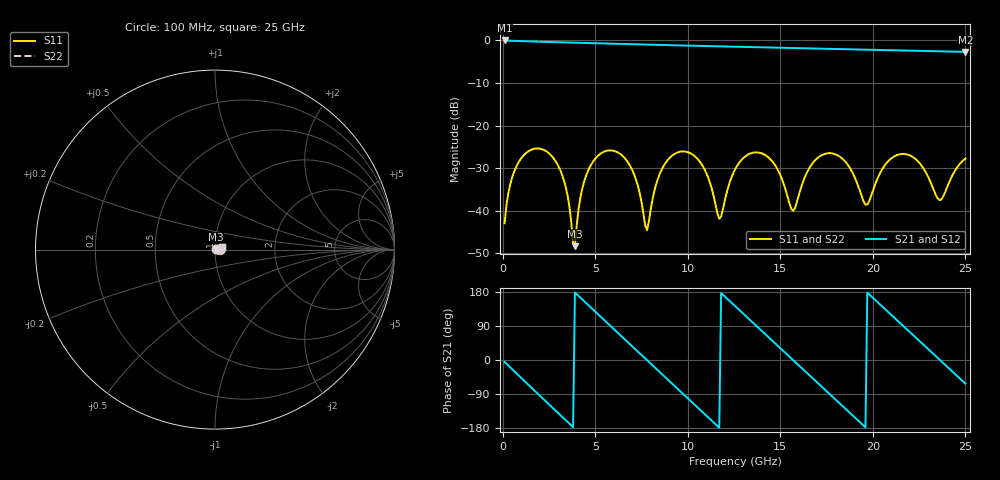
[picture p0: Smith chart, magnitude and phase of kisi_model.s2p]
! kisi T_ts6_sl_20: fast channel model (formula impedances, via model), up to 25 GHz
# Hz S RI R 50
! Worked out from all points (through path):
!   250 points, 100 MHz to 25 GHz, reference 50 ohm
!   highest |S21| = -0.05 dB at 100 MHz (marker M1); lowest = -2.7 dB at 25 GHz (marker M2)
!   group delay of S21, straight-line fit = 127 ps
!   lowest |S11| = -48.3 dB at 3.9 GHz (marker M3), VSWR 1.01, Z = 50.4 + j0.157 ohm
!   |S11| at or under -10 dB: start of sweep to end of sweep
!   |S22| runs from -48.3 to -25.4 dB; largest |S21 - S12| = 0
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1e8  0.00491 0.00521  0.9903 -0.0857  0.9903 -0.0857  0.00491 0.00521
8e8  0.0264 0.0233  0.7704 -0.6057  0.7704 -0.6057  0.0264 0.0233
2.1e9  0.0518 -0.0107  -0.1452 -0.948  -0.1452 -0.948  0.0518 -0.0107
3.2e9  0.0151 -0.022  -0.8146 -0.4784  -0.8146 -0.4784  0.0151 -0.022
3.9e9  0.00352 0.00156  -0.9352 0.0308  -0.9352 0.0308  0.00352 0.00156
4.3e9  0.00958 0.0156  -0.8725 0.3231  -0.8725 0.3231  0.00958 0.0156
6.1e9  0.0489 -0.00918  0.2031 0.8844  0.2031 0.8844  0.0489 -0.00918
7.8e9  0.00588 0.000791  0.889 -0.0121  0.889 -0.0121  0.00588 0.000791
8.4e9  0.0154 0.0189  0.7773 -0.4174  0.7773 -0.4174  0.0154 0.0189
1.02e10  0.045 -0.0118  -0.3 -0.8084  -0.3 -0.8084  0.045 -0.0118
1.17e10  0.00808 -0.000476  -0.8477 -0.0185  -0.8477 -0.0185  0.00808 -0.000476
1.26e10  0.0239 0.0212  -0.6446 0.5365  -0.6446 0.5365  0.0239 0.0212
1.42e10  0.0434 -0.0112  0.315 0.76  0.315 0.76  0.0434 -0.0112
1.57e10  0.00994 0.00111  0.8095 -0.00998  0.8095 -0.00998  0.00994 0.00111
1.67e10  0.0285 0.0206  0.5541 -0.577  0.5541 -0.577  0.0285 0.0206
1.79e10  0.0465 -0.00334  -0.145 -0.7755  -0.145 -0.7755  0.0465 -0.00334
1.91e10  0.0188 -0.0123  -0.7062 -0.3291  -0.7062 -0.3291  0.0188 -0.0123
1.97e10  0.0117 0.00224  -0.7735 0.0303  -0.7735 0.0303  0.0117 0.00224
2.09e10  0.0349 0.0185  -0.4195 0.6379  -0.4195 0.6379  0.0349 0.0185
2.2e10  0.0442 -0.00575  0.2138 0.7233  0.2138 0.7233  0.0442 -0.00575
2.32e10  0.0175 -0.00886  0.7036 0.245  0.7036 0.245  0.0175 -0.00886
2.5e10  0.0376 0.0162  0.3393 -0.6469  0.3393 -0.6469  0.0376 0.0162
